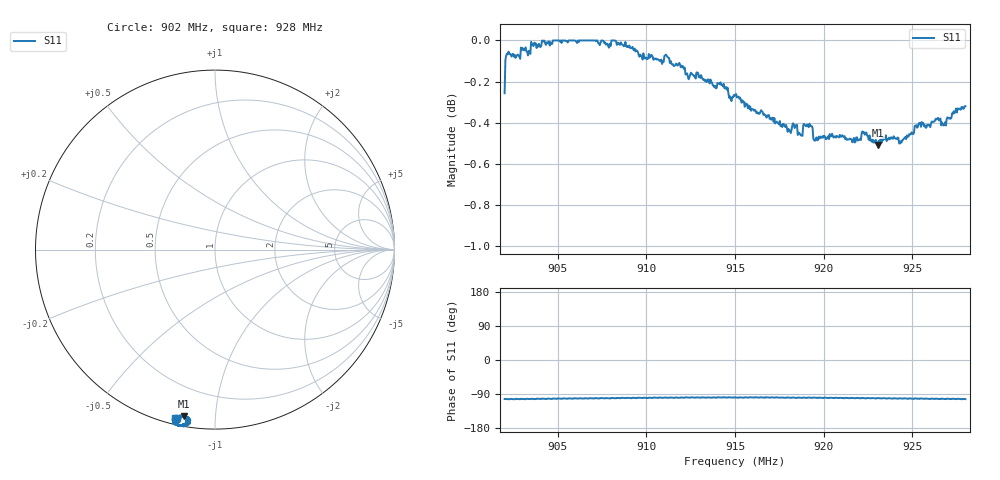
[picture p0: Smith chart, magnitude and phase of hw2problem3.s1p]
! created by sthoma11 at Fri Sep 09 10:22:27 CDT 2016
! generated using vna/J Version 3.1.9
# Hz S DB R 50
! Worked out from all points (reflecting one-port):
!   592 points, 902 MHz to 928 MHz, reference 50 ohm
!   lowest |S11| = -0.5 dB at 923.07 MHz (marker M1), VSWR 34.22, Z = 2.47 - j41.5 ohm
!   phase of S11 starts at -103 deg and turns -0 deg over the sweep
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9.02e8  -0.26 -103.0
9.02132e8  -0.06 -103.1
9.030998e8  -0.05 -103.1
9.052554e8  0.00 -102.4
9.078949e8  -0.04 -101.0
9.085108e8  -0.02 -100.7
9.093907e8  -0.05 -100.2
9.096106e8  -0.08 -99.7
9.100065e8  -0.09 -100.2
9.104905e8  -0.09 -99.4
9.117662e8  -0.12 -99.4
9.126021e8  -0.17 -98.7
9.12998e8  -0.17 -99.2
9.13218e8  -0.19 -98.8
9.136139e8  -0.19 -99.2
9.140978e8  -0.21 -98.6
9.150216e8  -0.26 -98.8
9.154176e8  -0.29 -99.1
9.159015e8  -0.34 -98.6
9.166053e8  -0.36 -99.1
9.168253e8  -0.36 -98.6
9.177931e8  -0.42 -99.5
9.180131e8  -0.43 -99.0
9.18277e8  -0.40 -99.0
9.215324e8  -0.48 -99.8
9.230722e8  -0.51 -100.5
9.247879e8  -0.47 -102.2
9.279993e8  -0.32 -103.2
